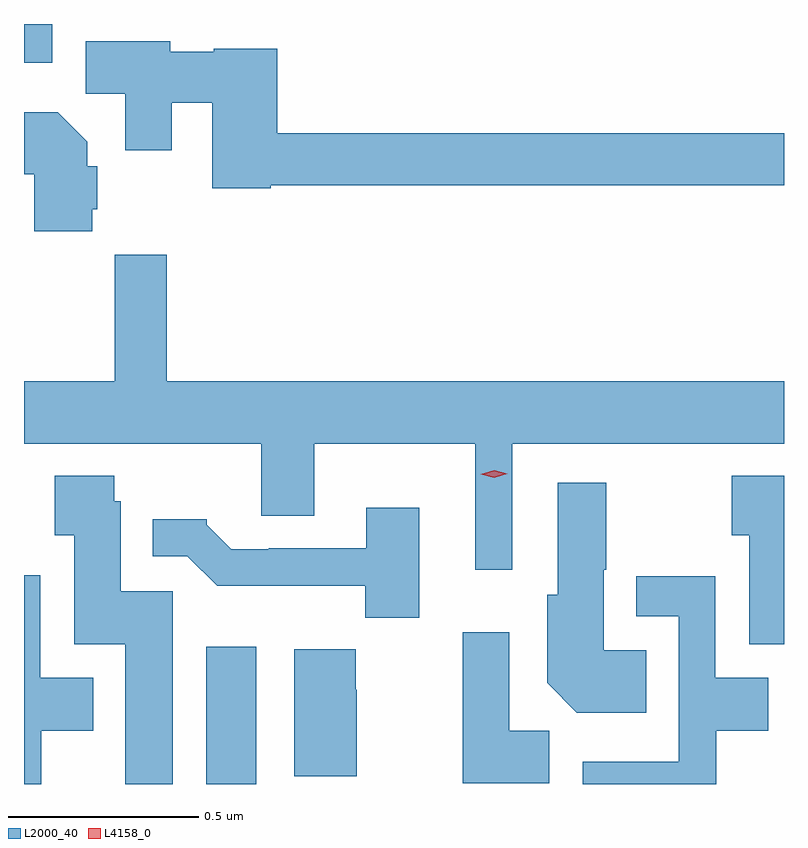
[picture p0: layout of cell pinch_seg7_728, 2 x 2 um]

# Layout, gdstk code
import gdstk
lib = gdstk.Library(unit=1e-6, precision=1e-09)
def R(c, l, rs):  # rectangles x0, y0, x1, y1
    for r in rs: c.add(gdstk.rectangle(r[:2], r[2:], *l))
def P(c, l, *ps):  # polygons
    for p in ps: c.add(gdstk.Polygon(p, *l))
L2000_40 = (2000, 40)
L4158_0 = (4158, 0)

pinch_seg7_728 = lib.new_cell('pinch_seg7_728')
R(pinch_seg7_728, L2000_40, [(267.695,1027.692,267.826,1028.053), (267.215,1029.59,267.289,1029.692)])
P(pinch_seg7_728, L2000_40, [(267.864,1029.268),(269.215,1029.268),(269.215,1029.404),(267.881,1029.404),(267.881,1029.627),(267.714,1029.627),(267.714,1029.619),(267.6,1029.619),(267.6,1029.646),(267.377,1029.646),(267.377,1029.508),(267.482,1029.508),(267.482,1029.36),(267.604,1029.36),(267.604,1029.485),(267.71,1029.485),(267.71,1029.26),(267.864,1029.26)],
  [(267.395,1029.204),(267.408,1029.204),(267.408,1029.318),(267.382,1029.318),(267.382,1029.382),(267.304,1029.46),(267.215,1029.46),(267.215,1029.296),(267.242,1029.296),(267.242,1029.146),(267.395,1029.146)],
  [(268.5,1028.588),(269.215,1028.588),(269.215,1028.752),(267.59,1028.752),(267.59,1029.085),(267.454,1029.085),(267.454,1028.752),(267.215,1028.752),(267.215,1028.588),(267.839,1028.588),(267.839,1028.398),(267.979,1028.398),(267.979,1028.588),(268.403,1028.588),(268.403,1028.256),(268.5,1028.256)],
  [(267.607,1028.199),(267.469,1028.199),(267.469,1028.436),(267.453,1028.436),(267.453,1028.503),(267.296,1028.503),(267.296,1028.347),(267.347,1028.347),(267.347,1028.06),(267.482,1028.06),(267.482,1027.692),(267.607,1027.692)],
  [(269.215,1028.503),(269.077,1028.503),(269.077,1028.347),(269.123,1028.347),(269.123,1028.06),(269.215,1028.06)],
  [(268.853,1028.044),(268.741,1028.044),(268.741,1028.256),(268.747,1028.256),(268.747,1028.485),(268.619,1028.485),(268.619,1028.19),(268.592,1028.19),(268.592,1027.958),(268.67,1027.88),(268.853,1027.88)],
  [(268.255,1028.419),(268.115,1028.419),(268.115,1028.313),(267.859,1028.313),(267.859,1028.31),(267.76,1028.31),(267.696,1028.374),(267.696,1028.389),(267.554,1028.389),(267.554,1028.292),(267.645,1028.292),(267.724,1028.214),(268.113,1028.214),(268.113,1028.129),(268.255,1028.129)],
  [(267.261,1027.832),(267.397,1027.832),(267.397,1027.972),(267.258,1027.972),(267.258,1028.242),(267.215,1028.242),(267.215,1027.692),(267.261,1027.692)],
  [(269.037,1027.832),(269.173,1027.832),(269.173,1027.972),(269.034,1027.972),(269.034,1028.239),(268.826,1028.239),(268.826,1028.133),(268.938,1028.133),(268.938,1027.75),(268.685,1027.75),(268.685,1027.692),(269.037,1027.692)],
  [(268.597,1027.832),(268.492,1027.832),(268.492,1028.092),(268.37,1028.092),(268.37,1027.694),(268.597,1027.694)],
  [(268.09,1027.94),(268.088,1027.94),(268.088,1028.047),(267.926,1028.047),(267.926,1027.713),(268.09,1027.713)])
P(pinch_seg7_728, L4158_0, [(268.452,1028.498),(268.417,1028.507),(268.417,1028.507),(268.417,1028.507),(268.452,1028.518),(268.487,1028.509),(268.487,1028.509),(268.487,1028.509)])

lib.write_gds('pinch_seg7_728.gds')
